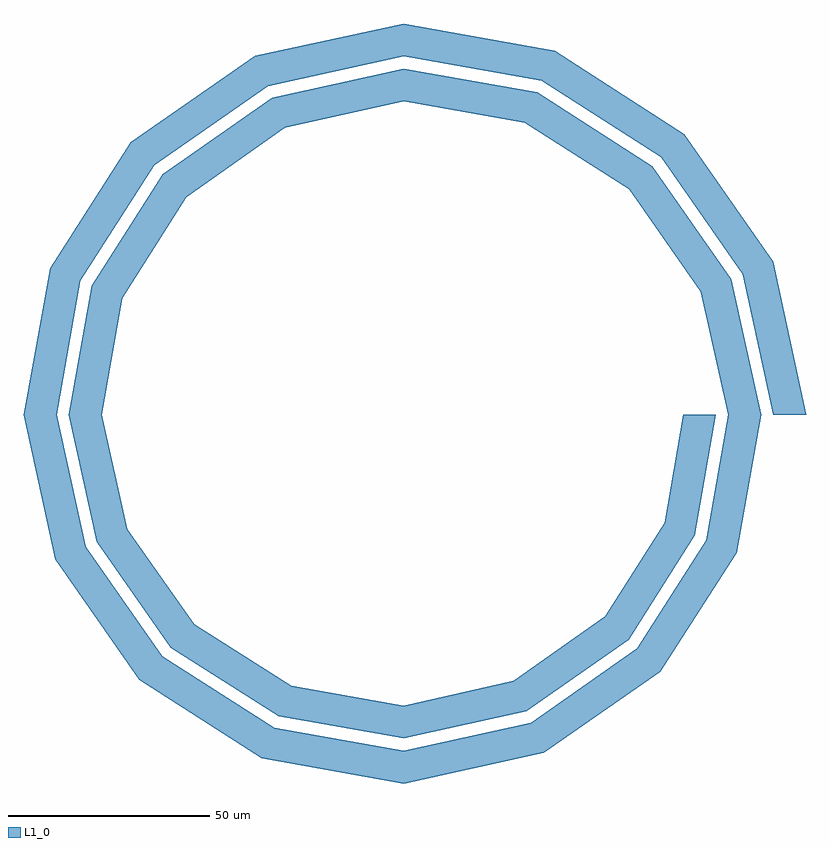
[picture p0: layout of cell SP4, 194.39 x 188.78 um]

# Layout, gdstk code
import gdstk
lib = gdstk.Library(unit=1e-6, precision=1e-09)
def P(c, l, *ps):  # polygons
    for p in ps: c.add(gdstk.Polygon(p, *l))
L1_0 = (1, 0)

sp4 = lib.new_cell('SP4')
P(sp4, L1_0, [(389.03,294.39),(381.4,329.27),(388.93,332.39),(397.19,294.39)],
  [(381.4,329.27),(361.14,358.34),(366.91,364.11),(388.93,332.39)],
  [(361.14,358.34),(331.53,377.3),(334.65,384.83),(366.91,364.11)],
  [(331.53,377.3),(297.19,383.43),(297.19,391.58),(334.65,384.83)],
  [(263.39,376),(260.26,383.54),(297.19,391.58),(297.19,383.43)],
  [(235.22,356.36),(229.45,362.12),(260.26,383.54),(263.39,376)],
  [(216.87,327.66),(209.34,330.78),(229.45,362.12),(235.22,356.36)],
  [(202.8,294.39),(209.34,330.78),(216.87,327.66),(210.96,294.39)],
  [(210.63,258.53),(202.8,294.39),(210.96,294.39),(218.17,261.65)],
  [(231.44,228.63),(210.63,258.53),(218.17,261.65),(237.2,234.4)],
  [(261.87,209.12),(231.44,228.63),(237.2,234.4),(264.99,216.66)],
  [(297.19,202.8),(261.87,209.12),(264.99,216.66),(297.19,210.96)],
  [(297.19,202.8),(297.19,210.96),(328.85,217.95),(331.97,210.42)],
  [(331.97,210.42),(328.85,217.95),(355.19,236.38),(360.96,230.62)],
  [(360.96,230.62),(355.19,236.38),(372.33,263.26),(379.86,260.14)],
  [(379.86,260.14),(372.33,263.26),(377.82,294.39),(385.98,294.39)],
  [(377.82,294.39),(371.03,324.97),(378.57,328.1),(385.98,294.39)],
  [(371.03,324.97),(353.21,350.41),(358.98,356.18),(378.57,328.1)],
  [(353.21,350.41),(327.24,366.93),(330.36,374.47),(358.98,356.18)],
  [(327.24,366.93),(297.19,372.21),(297.19,380.37),(330.36,374.47)],
  [(267.68,365.64),(264.56,373.18),(297.19,380.37),(297.19,372.21)],
  [(243.15,348.43),(237.38,354.19),(264.56,373.18),(267.68,365.64)],
  [(227.23,323.36),(219.7,326.49),(237.38,354.19),(243.15,348.43)],
  [(214.01,294.39),(219.7,326.49),(227.23,323.36),(222.17,294.39)],
  [(220.99,262.83),(214.01,294.39),(222.17,294.39),(228.53,265.95)],
  [(239.37,236.56),(220.99,262.83),(228.53,265.95),(245.14,242.33)],
  [(266.17,219.48),(239.37,236.56),(245.14,242.33),(269.29,227.02)],
  [(297.19,214.01),(266.17,219.48),(269.29,227.02),(297.19,222.17)],
  [(297.19,214.01),(297.19,222.17),(324.56,228.32),(327.68,220.78)],
  [(327.68,220.78),(324.56,228.32),(347.26,244.31),(353.03,238.55)],
  [(353.03,238.55),(347.26,244.31),(361.97,267.56),(369.5,264.43)],
  [(369.5,264.43),(361.97,267.56),(366.6,294.39),(374.76,294.39)])

lib.write_gds('SP4.gds')
